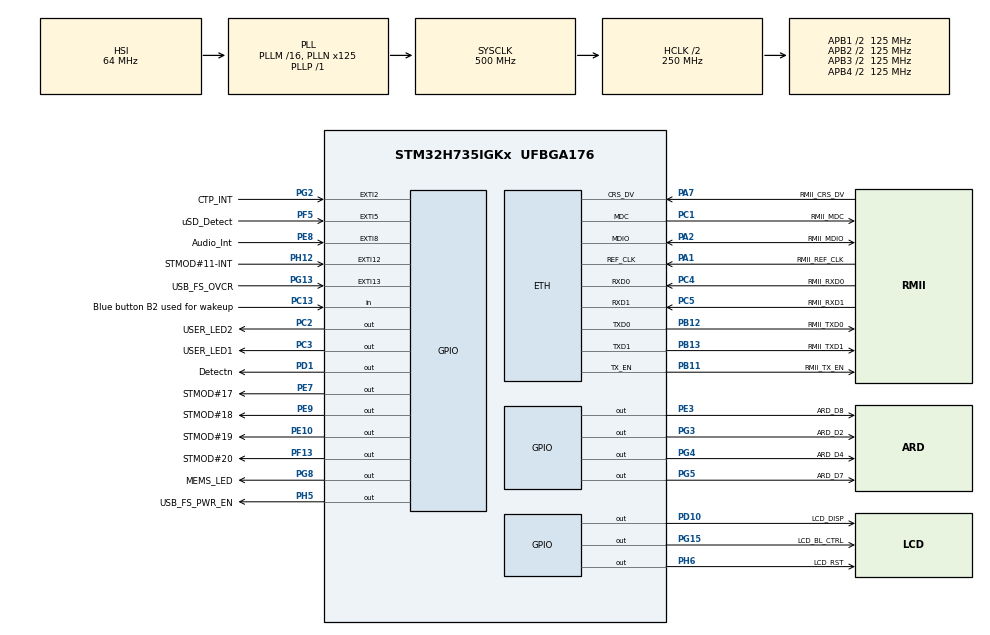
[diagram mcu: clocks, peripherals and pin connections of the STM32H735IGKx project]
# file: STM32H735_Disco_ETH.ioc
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CORTEX_M7.AccessPermission_S-Cortex_Memory_Protection_Unit_Region1_Settings_S=MPU_REGION_FULL_ACCESS
CORTEX_M7.AccessPermission_S-Cortex_Memory_Protection_Unit_Region2_Settings_S=MPU_REGION_FULL_ACCESS
CORTEX_M7.BaseAddress_S-Cortex_Memory_Protection_Unit_Region1_Settings_S=0x30000000
CORTEX_M7.BaseAddress_S-Cortex_Memory_Protection_Unit_Region2_Settings_S=0x30000000
CORTEX_M7.CPU_DCache=Enabled
CORTEX_M7.CPU_ICache=Enabled
CORTEX_M7.DisableExec_S-Cortex_Memory_Protection_Unit_Region1_Settings_S=MPU_INSTRUCTION_ACCESS_DISABLE
CORTEX_M7.DisableExec_S-Cortex_Memory_Protection_Unit_Region2_Settings_S=MPU_INSTRUCTION_ACCESS_DISABLE
CORTEX_M7.Enable_S-Cortex_Memory_Protection_Unit_Region1_Settings_S=MPU_REGION_ENABLE
CORTEX_M7.Enable_S-Cortex_Memory_Protection_Unit_Region2_Settings_S=MPU_REGION_ENABLE
CORTEX_M7.IsBufferable_S-Cortex_Memory_Protection_Unit_Region2_Settings_S=MPU_ACCESS_BUFFERABLE
CORTEX_M7.IsShareable_S-Cortex_Memory_Protection_Unit_Region2_Settings_S=MPU_ACCESS_SHAREABLE
CORTEX_M7.Size_S-Cortex_Memory_Protection_Unit_Region1_Settings_S=MPU_REGION_SIZE_32KB
CORTEX_M7.Size_S-Cortex_Memory_Protection_Unit_Region2_Settings_S=MPU_REGION_SIZE_512B
CORTEX_M7.TypeExtField_S-Cortex_Memory_Protection_Unit_Region1_Settings_S=MPU_TEX_LEVEL1
CORTEX_M7.default_mode_Activation=1
ETH.MediaInterface=HAL_ETH_RMII_MODE
ETH.RxBuffAddress=0x30000200
ETH.RxBuffLen=1536
ETH.TxDescAddress=0x30000100
FREERTOS.Tasks01=defaultTask,24,512,StartDefaultTask,Default,NULL,Dynamic,NULL,NULL
FREERTOS.configCHECK_FOR_STACK_OVERFLOW=1
FREERTOS.configMINIMAL_STACK_SIZE=512
FREERTOS.configTOTAL_HEAP_SIZE=30*1024
FREERTOS.configUSE_NEWLIB_REENTRANT=1
LWIP.BSP.number=1
LWIP.ETH_RX_BUFFER_CNT=12
LWIP.IP_ADDRESS=192.168.001.010
LWIP.LWIP_DHCP=1
LWIP.LWIP_IGMP=1
LWIP.LWIP_MDNS=1
LWIP.LWIP_MDNS_RESPONDER=1
LWIP.LWIP_MULTICAST_TX_OPTIONS=1
LWIP.LWIP_RAM_HEAP_POINTER=0x30000200
LWIP.LWIP_STATS=1
LWIP.LWIP_STATS_DISPLAY=1
LWIP.MDNS_MAX_SERVICES=1
LWIP.MEMP_MEM_MALLOC=0
LWIP.MEMP_NUM_ARP_QUEUE=15
LWIP.MEMP_NUM_TCP_PCB_LISTEN=16
LWIP.MEMP_OVERFLOW_CHECK=2
LWIP.MEMP_SANITY_CHECK=1
LWIP.MEM_LIBC_MALLOC=0
LWIP.MEM_OVERFLOW_CHECK=2
LWIP.MEM_SANITY_CHECK=1
LWIP.MEM_SIZE=32232
LWIP.NETMASK_ADDRESS=255.255.255.000
LWIP.TCPIP_THREAD_STACKSIZE=4096
LWIP.TCP_MSS=1460
LWIP.TCP_SND_BUF=5840
LWIP.TCP_SND_QUEUELEN=16
LWIP.Version=v2.1.2_Cube
LWIP0.BSP.STBoard=false
LWIP0.BSP.api=BSP_COMPONENT_DRIVER
LWIP0.BSP.component=LAN8742
LWIP0.BSP.instance=LAN8742
LWIP0.BSP.name=Driver_PHY
LWIP0.BSP.semaphore=S_LAN8742
LWIP0.BSP.solution=LAN8742
Mcu.Family=STM32H7
Mcu.Name=STM32H735IGKx
Mcu.Package=UFBGA176
NVIC.ETH_IRQn=true\:5\:0\:false\:false\:true\:true\:true\:true\:true
NVIC.PriorityGroup=NVIC_PRIORITYGROUP_4
NVIC.TIM6_DAC_IRQn=true\:15\:0\:false\:false\:true\:false\:false\:true\:true
NVIC.TimeBase=TIM6_DAC_IRQn
NVIC.TimeBaseIP=TIM6
PA0.GPIO_Label=ARD_D3
PA0.Signal=S_TIM5_CH1
PA0_C.GPIO_Label=ARD_A2
PA0_C.Signal=ADCx_INP0
PA1.GPIO_Label=RMII_REF_CLK
PA1.GPIO_Speed=GPIO_SPEED_FREQ_VERY_HIGH
PA1.Mode=RMII
PA1.Signal=ETH_REF_CLK
PA10.GPIO_Label=USB_FS_ID
PA10.Signal=USB_OTG_HS_ID
PA11.GPIO_Label=USB_FS_DM
PA11.Signal=USB_OTG_HS_DM
PA12.GPIO_Label=USB_FS_DP
PA12.Signal=USB_OTG_HS_DP
PA13(JTMS/SWDIO).GPIO_Label=JTMS
PA13(JTMS/SWDIO).Signal=DEBUG_JTMS-SWDIO
PA14(JTCK/SWCLK).GPIO_Label=JTCK
PA14(JTCK/SWCLK).Signal=DEBUG_JTCK-SWCLK
PA15(JTDI).GPIO_Label=JTDI
PA15(JTDI).Signal=DEBUG_JTDI
PA1_C.GPIO_Label=ARD_A3
PA1_C.Signal=ADCx_INP1
PA2.GPIO_Label=RMII_MDIO
PA2.GPIO_Speed=GPIO_SPEED_FREQ_VERY_HIGH
PA2.Mode=RMII
PA2.Signal=ETH_MDIO
PA3.GPIO_Label=LCD_B5
PA3.GPIO_Speed=GPIO_SPEED_FREQ_LOW
PA3.Signal=LTDC_B5
PA4.GPIO_Label=LCD_VSYNC
PA4.GPIO_Speed=GPIO_SPEED_FREQ_LOW
PA4.Signal=LTDC_VSYNC
PA5.GPIO_Label=DAC1_OUT2
PA5.Signal=COMP_DAC12_group
PA6.GPIO_Label=LCD_G2
PA6.GPIO_Speed=GPIO_SPEED_FREQ_LOW
PA6.Signal=LTDC_G2
PA7.GPIO_Label=RMII_CRS_DV
PA7.GPIO_Speed=GPIO_SPEED_FREQ_VERY_HIGH
PA7.Mode=RMII
PA7.Signal=ETH_CRS_DV
PA8.GPIO_Label=LCD_B3
PA8.GPIO_Speed=GPIO_SPEED_FREQ_LOW
PA8.Signal=LTDC_B3
PA9.GPIO_Label=USB_FS_VBUS
PA9.Signal=USB_OTG_HS_VBUS
PB0.GPIO_Label=LCD_G1
PB0.GPIO_Speed=GPIO_SPEED_FREQ_LOW
PB0.Signal=LTDC_G1
PB1.GPIO_Label=LCD_G0
PB1.GPIO_Speed=GPIO_SPEED_FREQ_LOW
PB1.Signal=LTDC_G0
PB10.GPIO_Label=RMII_RX_ER
PB10.Signal=ETH_RX_ER
PB11.GPIO_Label=RMII_TX_EN
PB11.GPIO_Speed=GPIO_SPEED_FREQ_VERY_HIGH
PB11.Mode=RMII
PB11.Signal=ETH_TX_EN
PB12.GPIO_Label=RMII_TXD0
PB12.GPIO_Speed=GPIO_SPEED_FREQ_VERY_HIGH
PB12.Mode=RMII
PB12.Signal=ETH_TXD0
PB13.GPIO_Label=RMII_TXD1
PB13.GPIO_Speed=GPIO_SPEED_FREQ_VERY_HIGH
PB13.Mode=RMII
PB13.Signal=ETH_TXD1
PB14.GPIO_Label=ARD_D1
PB14.GPIO_PuPd=GPIO_NOPULL
PB14.Signal=USART1_TX
PB15.GPIO_Label=ARD_D0
PB15.GPIO_PuPd=GPIO_NOPULL
PB15.Signal=USART1_RX
PB2.GPIO_Label=OCSPI1_DQS
PB2.Signal=OCTOSPIM_P1_DQS
PB3(JTDO/TRACESWO).GPIO_Label=JTDO
PB3(JTDO/TRACESWO).Signal=DEBUG_JTDO-SWO
PB4(NJTRST).GPIO_Label=NJTRST
PB4(NJTRST).Signal=DEBUG_JTRST
PB5.GPIO_Label=FDCAN2_RX
PB5.Signal=FDCAN2_RX
PB6.GPIO_Label=FDCAN2_TX
PB6.Signal=FDCAN2_TX
PB7.GPIO_Label=ARD_D9
PB7.Signal=S_TIM4_CH2
PB8.GPIO_Label=LCD_B6
PB8.GPIO_Speed=GPIO_SPEED_FREQ_LOW
PB8.Signal=LTDC_B6
PB9.GPIO_Label=LCD_B7
PB9.GPIO_Speed=GPIO_SPEED_FREQ_LOW
PB9.Signal=LTDC_B7
PC0.GPIO_Label=ARD_A0
PC0.Signal=ADCx_INP10
PC1.GPIO_Label=RMII_MDC
PC1.GPIO_Speed=GPIO_SPEED_FREQ_VERY_HIGH
PC1.Mode=RMII
PC1.Signal=ETH_MDC
PC10.GPIO_Label=SDIO1_D2
PC10.Signal=SDMMC1_D2
PC11.GPIO_Label=SDIO1_D3
PC11.Signal=SDMMC1_D3
PC12.GPIO_Label=SDIO1_CK
PC12.Signal=SDMMC1_CK
PC13.GPIO_Label=Blue button B2 used for wakeup
PC13.Signal=GPIO_Input
PC2.GPIO_Label=USER_LED2
PC2.Signal=GPIO_Output
PC2_C.GPIO_Label=ARD_A4
PC2_C.Signal=ADC3_INP0
PC3.GPIO_Label=USER_LED1
PC3.Signal=GPIO_Output
PC3_C.GPIO_Label=ARD_A5
PC3_C.Signal=ADC3_INP1
PC4.GPIO_Label=RMII_RXD0
PC4.GPIO_Speed=GPIO_SPEED_FREQ_VERY_HIGH
PC4.Mode=RMII
PC4.Signal=ETH_RXD0
PC5.GPIO_Label=RMII_RXD1
PC5.GPIO_Speed=GPIO_SPEED_FREQ_VERY_HIGH
PC5.Mode=RMII
PC5.Signal=ETH_RXD1
PC6.GPIO_Label=LCD_HSYNC
PC6.GPIO_Speed=GPIO_SPEED_FREQ_LOW
PC6.Signal=LTDC_HSYNC
PC7.GPIO_Label=LCD_G6
PC7.GPIO_Speed=GPIO_SPEED_FREQ_LOW
PC7.Signal=LTDC_G6
PC8.GPIO_Label=SDIO1_D0
PC8.Signal=SDMMC1_D0
PC9.GPIO_Label=SDIO1_D1
PC9.Signal=SDMMC1_D1
PD0.GPIO_Label=LCD_B1
PD0.GPIO_Speed=GPIO_SPEED_FREQ_LOW
PD0.Signal=LTDC_B1
PD1.GPIO_Label=Detectn
PD1.GPIO_PuPd=GPIO_NOPULL
PD1.Signal=GPIO_Output
PD10.GPIO_Label=LCD_DISP
PD10.GPIO_Speed=GPIO_SPEED_FREQ_LOW
PD10.Signal=GPIO_Output
PD11.GPIO_Label=OCSPI1_IO0
PD11.Signal=OCTOSPIM_P1_IO0
PD12.GPIO_Label=OCSPI1_IO1
PD12.Signal=OCTOSPIM_P1_IO1
PD13.GPIO_Label=OCSPI1_IO3
PD13.Signal=OCTOSPIM_P1_IO3
PD14.GPIO_Label=STMOD\#14-PWM
PD14.Signal=S_TIM4_CH3
PD15.GPIO_Label=ARD_D6
PD15.Signal=S_TIM4_CH4
PD2.GPIO_Label=SDIO1_CMD
PD2.Signal=SDMMC1_CMD
PD3.GPIO_Label=LCD_G7
PD3.GPIO_Speed=GPIO_SPEED_FREQ_LOW
PD3.Signal=LTDC_G7
PD4.GPIO_Label=OCSPI1_IO4
PD4.Signal=OCTOSPIM_P1_IO4
PD5.GPIO_Label=OCSPI1_IO5
PD5.Signal=OCTOSPIM_P1_IO5
PD6.GPIO_Label=LCD_B2
PD6.GPIO_Speed=GPIO_SPEED_FREQ_LOW
PD6.Signal=LTDC_B2
PD7.GPIO_Label=OCSPI1_IO7
PD7.Signal=OCTOSPIM_P1_IO7
PD8.GPIO_Label=T_VCP_TX
PD8.GPIO_PuPd=GPIO_NOPULL
PD8.Signal=USART3_TX
PD9.GPIO_Label=T_VCP_RX
PD9.GPIO_PuPd=GPIO_NOPULL
PD9.Signal=USART3_RX
PE0.GPIO_Label=LCD_R0
PE0.GPIO_Speed=GPIO_SPEED_FREQ_LOW
PE0.Signal=LTDC_R0
PE1.GPIO_Label=LCD_R6
PE1.GPIO_Speed=GPIO_SPEED_FREQ_LOW
PE1.Signal=LTDC_R6
PE10.GPIO_Label=STMOD\#19
PE10.Signal=GPIO_Output
PE11.GPIO_Label=LCD_G3
PE11.GPIO_Speed=GPIO_SPEED_FREQ_LOW
PE11.Signal=LTDC_G3
PE12.GPIO_Label=LCD_B4
PE12.GPIO_Speed=GPIO_SPEED_FREQ_LOW
PE12.Signal=LTDC_B4
PE13.GPIO_Label=LCD_DE
PE13.GPIO_Speed=GPIO_SPEED_FREQ_LOW
PE13.Signal=LTDC_DE
PE14.GPIO_Label=ARD_D5
PE14.Signal=S_TIM1_CH4
PE15.GPIO_Label=LCD_R7
PE15.GPIO_Speed=GPIO_SPEED_FREQ_LOW
PE15.Signal=LTDC_R7
PE2.GPIO_Label=OCSPI1_IO2
PE2.Signal=OCTOSPIM_P1_IO2
PE3.GPIO_Label=ARD_D8
PE3.Signal=GPIO_Output
PE4.GPIO_Label=SAI4_D2
PE4.Signal=SAI4_D2
PE5.GPIO_Label=SAI4_CK2
PE5.Signal=SAI4_CK2
PE6.GPIO_Label=SAI1_SD_A
PE6.Signal=SAI1_SD_A
PE7.GPIO_Label=STMOD\#17
PE7.Signal=GPIO_Output
PE8.GPIO_Label=Audio_Int
PE8.Signal=GPXTI8
PE9.GPIO_Label=STMOD\#18
PE9.Signal=GPIO_Output
PF0.GPIO_Label=OCSPI2_IO0
PF0.Signal=OCTOSPIM_P2_IO0
PF1.GPIO_Label=OCSPI2_IO1
PF1.Signal=OCTOSPIM_P2_IO1
PF10.GPIO_Label=OCSPI1_CLK
PF10.Signal=OCTOSPIM_P1_CLK
PF11.GPIO_Label=SPI5_MOSI
PF11.Signal=SPI5_MOSI
PF12.GPIO_Label=OCSPI2_DQS
PF12.Signal=OCTOSPIM_P2_DQS
PF13.GPIO_Label=STMOD\#20
PF13.Signal=GPIO_Output
PF14.GPIO_Label=I2C4_SCL
PF14.Signal=I2C4_SCL
PF15.GPIO_Label=I2C4_SDA
PF15.Signal=I2C4_SDA
PF2.GPIO_Label=OCSPI2_IO2
PF2.Signal=OCTOSPIM_P2_IO2
PF3.GPIO_Label=OCSPI2_IO3
PF3.Signal=OCTOSPIM_P2_IO3
PF4.GPIO_Label=OCSPI2_CLK
PF4.Signal=OCTOSPIM_P2_CLK
PF5.GPIO_Label=uSD_Detect
PF5.Signal=GPXTI5
PF6.GPIO_Label=SAI1_SD_B
PF6.Signal=SAI1_SD_B
PF7.GPIO_Label=SAI1_MCLK_B
PF7.Signal=SAI1_MCLK_B
PF8.GPIO_Label=SAI1_SCK_B
PF8.Signal=SAI1_SCK_B
PF9.GPIO_Label=SAI1_FS_B
PF9.Signal=SAI1_FS_B
PG0.GPIO_Label=OCSPI2_IO4
PG0.Signal=OCTOSPIM_P2_IO4
PG1.GPIO_Label=OCSPI2_IO5
PG1.Signal=OCTOSPIM_P2_IO5
PG10.GPIO_Label=OCSPI2_IO6
PG10.Signal=OCTOSPIM_P2_IO6
PG11.GPIO_Label=OCSPI2_IO7
PG11.Signal=OCTOSPIM_P2_IO7
PG12.GPIO_Label=OCSPI2_NCS
PG12.Signal=OCTOSPIM_P2_NCS
PG13.GPIO_Label=USB_FS_OVCR
PG13.Signal=GPXTI13
PG14.GPIO_Label=LCD_B0
PG14.GPIO_Speed=GPIO_SPEED_FREQ_LOW
PG14.Signal=LTDC_B0
PG15.GPIO_Label=LCD_BL_CTRL
PG15.GPIO_Speed=GPIO_SPEED_FREQ_LOW
PG15.Signal=GPIO_Output
PG2.GPIO_Label=CTP_INT
PG2.Signal=GPXTI2
PG3.GPIO_Label=ARD_D2
PG3.Signal=GPIO_Output
PG4.GPIO_Label=ARD_D4
PG4.Signal=GPIO_Output
PG5.GPIO_Label=ARD_D7
PG5.Signal=GPIO_Output
PG6.GPIO_Label=OCSPI1_NCS
PG6.Signal=OCTOSPIM_P1_NCS
PG7.GPIO_Label=LCD_CLK
PG7.GPIO_Speed=GPIO_SPEED_FREQ_LOW
PG7.Signal=LTDC_CLK
PG8.GPIO_Label=MEMS_LED
PG8.Signal=GPIO_Output
PG9.GPIO_Label=OCSPI1_IO6
PG9.Signal=OCTOSPIM_P1_IO6
PH10.GPIO_Label=LCD_R4
PH10.GPIO_Speed=GPIO_SPEED_FREQ_LOW
PH10.Signal=LTDC_R4
PH11.GPIO_Label=LCD_R5
PH11.GPIO_Speed=GPIO_SPEED_FREQ_LOW
PH11.Signal=LTDC_R5
PH12.GPIO_Label=STMOD\#11-INT
PH12.Signal=GPXTI12
PH13.GPIO_Label=FDCAN1_TX
PH13.Signal=FDCAN1_TX
PH14.GPIO_Label=FDCAN1_RX
PH14.Signal=FDCAN1_RX
PH15.GPIO_Label=LCD_G4
PH15.GPIO_Speed=GPIO_SPEED_FREQ_LOW
PH15.Signal=LTDC_G4
PH2.GPIO_Label=ARD_A1
PH2.Signal=ADC3_INP13
PH3.GPIO_Label=LCD_R1
PH3.GPIO_Speed=GPIO_SPEED_FREQ_LOW
PH3.Signal=LTDC_R1
PH4.GPIO_Label=LCD_G5
PH4.GPIO_Speed=GPIO_SPEED_FREQ_LOW
PH4.Signal=LTDC_G5
PH5.GPIO_Label=USB_FS_PWR_EN
PH5.Signal=GPIO_Output
PH6.GPIO_Label=LCD_RST
PH6.GPIO_Speed=GPIO_SPEED_FREQ_LOW
PH6.Signal=GPIO_Output
PH7.GPIO_Label=SPI5_MISO
PH7.Signal=SPI5_MISO
PH8.GPIO_Label=LCD_R2
PH8.GPIO_Speed=GPIO_SPEED_FREQ_LOW
PH8.Signal=LTDC_R2
PH9.GPIO_Label=LCD_R3
PH9.GPIO_Speed=GPIO_SPEED_FREQ_LOW
PH9.Signal=LTDC_R3
ProjectManager.HeapSize=0x200
ProjectManager.StackSize=0x400
ProjectManager.TargetToolchain=STM32CubeIDE
RCC.ADCFreq_Value=204800000
RCC.APB1Freq_Value=125000000
RCC.APB2Freq_Value=125000000
RCC.APB3Freq_Value=125000000
RCC.APB4Freq_Value=125000000
RCC.CortexFreq_Value=500000000
RCC.D1PPRE=RCC_APB3_DIV2
RCC.D2PPRE1=RCC_APB1_DIV2
RCC.D2PPRE2=RCC_APB2_DIV2
RCC.D3PPRE=RCC_APB4_DIV2
RCC.DIVM1=16
RCC.DIVM2=5
RCC.DIVN1=125
RCC.DIVN2=80
RCC.DIVP1=1
RCC.DIVP2=5
RCC.DIVQ1=4
RCC.HCLKFreq_Value=250000000
RCC.HPRE=RCC_HCLK_DIV2
RCC.PLL2FRACN=0
RCC.PLL3FRACN=0
RCC.PLLFRACN=0
RCC.SYSCLKFreq_VALUE=500000000
RCC.SYSCLKSource=RCC_SYSCLKSOURCE_PLLCLK
RCC.USBCLockSelection=RCC_USBCLKSOURCE_HSI48
RCC.USBFreq_Value=48000000
SH.ADCx_INP0.0=ADC1_INP0
SH.ADCx_INP0.1=ADC2_INP0
SH.ADCx_INP1.0=ADC2_INP1
SH.ADCx_INP1.1=ADC1_INP1
SH.ADCx_INP10.0=ADC1_INP10
SH.COMP_DAC12_group.0=DAC1_OUT2
SH.S_TIM1_CH4.0=TIM1_CH4
SH.S_TIM4_CH2.0=TIM4_CH2
SH.S_TIM4_CH3.0=TIM4_CH3
SH.S_TIM4_CH4.0=TIM4_CH4
SH.S_TIM5_CH1.0=TIM5_CH1
VP_FREERTOS_VS_CMSIS_V2.Mode=CMSIS_V2
VP_LWIP_VS_Enabled.Mode=Enabled
VP_SYS_VS_tim6.Mode=TIM6
board=STM32H735G-DK

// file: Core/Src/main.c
/* USER CODE BEGIN Header */
/**
  ******************************************************************************
  * @file           : main.c
  * @brief          : Main program body
  ******************************************************************************
  * @attention
  *
  * Copyright (c) 2022 STMicroelectronics.
  * All rights reserved.
  *
  * This software is licensed under terms that can be found in the LICENSE file
  * in the root directory of this software component.
  * If no LICENSE file comes with this software, it is provided AS-IS.
  *
  ******************************************************************************
  */
/* USER CODE END Header */
#include "main.h"
#include "cmsis_os.h"
#include "lwip.h"

/* USER CODE BEGIN Includes */
/* ETH_CODE: add lwiperf, see comment in StartDefaultTask function */
#include <string.h>
#include "lwip/apps/lwiperf.h"
#include "lwip/apps/mdns.h"
#include "lwip/stats.h"
#include "lwip/igmp.h"
/* USER CODE END Includes */

/* Definitions for defaultTask */
osThreadId_t defaultTaskHandle;
const osThreadAttr_t defaultTask_attributes = {
  .name = "defaultTask",
  .stack_size = 512 * 4,
  .priority = (osPriority_t) osPriorityNormal,
};
/* USER CODE BEGIN PV */

extern struct netif gnetif;

/* USER CODE END PV */

void SystemClock_Config(void);
static void MPU_Config(void);
static void MX_GPIO_Init(void);
void StartDefaultTask(void *argument);

/* USER CODE BEGIN PFP */

extern void initialise_monitor_handles(void);

/* USER CODE END PFP */

/* USER CODE BEGIN 0 */

static void
srv_txt(struct mdns_service *service, void *txt_userdata)
{
  err_t res;
  LWIP_UNUSED_ARG(txt_userdata);

  res = mdns_resp_add_service_txtitem(service, "path=/", 6);
  LWIP_ERROR("mdns add service txt failed\n", (res == ERR_OK), return);
}

static void
mdns_example_report(struct netif* netif, u8_t result)
{
  LWIP_PLATFORM_DIAG(("mdns status[netif %d]: %d\n", netif->num, result));
}

void mdns_thread(void *argument) {

	// Need to wait for memp_init() to complete...
	// TODO: There should be a better way
	vTaskDelay(1000/ portTICK_PERIOD_MS);

  LOCK_TCPIP_CORE();
  mdns_resp_register_name_result_cb(mdns_example_report);
  mdns_resp_init();
  UNLOCK_TCPIP_CORE();

  while(!dhcp_supplied_address(&gnetif)) {
    vTaskDelay(1000/ portTICK_PERIOD_MS);
  }

  LOCK_TCPIP_CORE();
  ip4_addr_t mdns_group;
  mdns_resp_add_netif(&gnetif, "scion", 1200);

  IP4_ADDR(&mdns_group, 224, 0, 0, 251);
  igmp_joingroup(IP_ADDR_ANY, &mdns_group);

  mdns_resp_add_service(&gnetif, "scion", "_scion", DNSSD_PROTO_UDP, 9000, 60, srv_txt, NULL);
  mdns_resp_announce(&gnetif);
  UNLOCK_TCPIP_CORE();

  while (1) {
    LOCK_TCPIP_CORE();
    mdns_resp_announce(&gnetif);
    UNLOCK_TCPIP_CORE();

    vTaskDelay(5000/ portTICK_PERIOD_MS);
  }
}

/* USER CODE END 0 */

int main(void)
{

  /* MPU Configuration--------------------------------------------------------*/
  MPU_Config();

  /* Enable the CPU Cache */

  /* Enable I-Cache---------------------------------------------------------*/
  SCB_EnableICache();

  /* Enable D-Cache---------------------------------------------------------*/
  //SCB_EnableDCache();

  /* MCU Configuration--------------------------------------------------------*/

  /* Reset of all peripherals, Initializes the Flash interface and the Systick. */
  HAL_Init();

  /* Configure the system clock */
  SystemClock_Config();

  /* Initialize all configured peripherals */
  MX_GPIO_Init();
  /* USER CODE BEGIN 2 */

  initialise_monitor_handles();

  printf("Testing!\n");
  /* USER CODE END 2 */

  /* Init scheduler */
  osKernelInitialize();

  /* Create the thread(s) */
  /* creation of defaultTask */
  defaultTaskHandle = osThreadNew(StartDefaultTask, NULL, &defaultTask_attributes);

  /* USER CODE BEGIN RTOS_THREADS */
  /* add threads, ... */

  osThreadAttr_t attributes;

  memset(&attributes, 0x0, sizeof(osThreadAttr_t));
  attributes.name = "MDNS";
  attributes.stack_size = 512;
  attributes.priority = osPriorityNormal;
  osThreadNew(mdns_thread, &gnetif, &attributes);

  /* USER CODE END RTOS_THREADS */

  /* Start scheduler */
  osKernelStart();

  /* We should never get here as control is now taken by the scheduler */

  /* Infinite loop */
  while (1)
  {

  }
}

void SystemClock_Config(void)
{
  RCC_OscInitTypeDef RCC_OscInitStruct = {0};
  RCC_ClkInitTypeDef RCC_ClkInitStruct = {0};

  /** Supply configuration update enable
  */
  HAL_PWREx_ConfigSupply(PWR_DIRECT_SMPS_SUPPLY);

  /** Configure the main internal regulator output voltage
  */
  __HAL_PWR_VOLTAGESCALING_CONFIG(PWR_REGULATOR_VOLTAGE_SCALE0);

  while(!__HAL_PWR_GET_FLAG(PWR_FLAG_VOSRDY)) {}

  /** Initializes the RCC Oscillators according to the specified parameters
  * in the RCC_OscInitTypeDef structure.
  */
  RCC_OscInitStruct.OscillatorType = RCC_OSCILLATORTYPE_HSI;
  RCC_OscInitStruct.HSIState = RCC_HSI_DIV1;
  RCC_OscInitStruct.HSICalibrationValue = 64;
  RCC_OscInitStruct.PLL.PLLState = RCC_PLL_ON;
  RCC_OscInitStruct.PLL.PLLSource = RCC_PLLSOURCE_HSI;
  RCC_OscInitStruct.PLL.PLLM = 16;
  RCC_OscInitStruct.PLL.PLLN = 125;
  RCC_OscInitStruct.PLL.PLLP = 1;
  RCC_OscInitStruct.PLL.PLLQ = 4;
  RCC_OscInitStruct.PLL.PLLR = 2;
  RCC_OscInitStruct.PLL.PLLRGE = RCC_PLL1VCIRANGE_2;
  RCC_OscInitStruct.PLL.PLLVCOSEL = RCC_PLL1VCOWIDE;
  RCC_OscInitStruct.PLL.PLLFRACN = 0;
  if (HAL_RCC_OscConfig(&RCC_OscInitStruct) != HAL_OK)
  {
    Error_Handler();
  }

  /** Initializes the CPU, AHB and APB buses clocks
  */
  RCC_ClkInitStruct.ClockType = RCC_CLOCKTYPE_HCLK|RCC_CLOCKTYPE_SYSCLK
                              |RCC_CLOCKTYPE_PCLK1|RCC_CLOCKTYPE_PCLK2
                              |RCC_CLOCKTYPE_D3PCLK1|RCC_CLOCKTYPE_D1PCLK1;
  RCC_ClkInitStruct.SYSCLKSource = RCC_SYSCLKSOURCE_PLLCLK;
  RCC_ClkInitStruct.SYSCLKDivider = RCC_SYSCLK_DIV1;
  RCC_ClkInitStruct.AHBCLKDivider = RCC_HCLK_DIV2;
  RCC_ClkInitStruct.APB3CLKDivider = RCC_APB3_DIV2;
  RCC_ClkInitStruct.APB1CLKDivider = RCC_APB1_DIV2;
  RCC_ClkInitStruct.APB2CLKDivider = RCC_APB2_DIV2;
  RCC_ClkInitStruct.APB4CLKDivider = RCC_APB4_DIV2;

  if (HAL_RCC_ClockConfig(&RCC_ClkInitStruct, FLASH_LATENCY_3) != HAL_OK)
  {
    Error_Handler();
  }
}

static void MX_GPIO_Init(void)
{
  GPIO_InitTypeDef GPIO_InitStruct = {0};

  /* GPIO Ports Clock Enable */
  __HAL_RCC_GPIOB_CLK_ENABLE();
  __HAL_RCC_GPIOG_CLK_ENABLE();
  __HAL_RCC_GPIOD_CLK_ENABLE();
  __HAL_RCC_GPIOA_CLK_ENABLE();
  __HAL_RCC_GPIOE_CLK_ENABLE();
  __HAL_RCC_GPIOC_CLK_ENABLE();
  __HAL_RCC_GPIOH_CLK_ENABLE();
  __HAL_RCC_GPIOF_CLK_ENABLE();

  /*Configure GPIO pin Output Level */
  HAL_GPIO_WritePin(GPIOD, Detectn_Pin|LCD_DISP_Pin, GPIO_PIN_RESET);

  /*Configure GPIO pin Output Level */
  HAL_GPIO_WritePin(GPIOE, ARD_D8_Pin|STMOD_17_Pin|STMOD_19_Pin|STMOD_18_Pin, GPIO_PIN_RESET);

  /*Configure GPIO pin Output Level */
  HAL_GPIO_WritePin(GPIOG, LCD_BL_CTRL_Pin|ARD_D7_Pin|MEMS_LED_Pin|ARD_D4_Pin
                          |ARD_D2_Pin, GPIO_PIN_RESET);

  /*Configure GPIO pin Output Level */
  HAL_GPIO_WritePin(GPIOC, USER_LED2_Pin|USER_LED1_Pin, GPIO_PIN_RESET);

  /*Configure GPIO pin Output Level */
  HAL_GPIO_WritePin(STMOD_20_GPIO_Port, STMOD_20_Pin, GPIO_PIN_RESET);

  /*Configure GPIO pin Output Level */
  HAL_GPIO_WritePin(GPIOH, LCD_RST_Pin|USB_FS_PWR_EN_Pin, GPIO_PIN_RESET);

  /*Configure GPIO pins : LCD_B6_Pin LCD_B7_Pin LCD_G0_Pin LCD_G1_Pin */
  GPIO_InitStruct.Pin = LCD_B6_Pin|LCD_B7_Pin|LCD_G0_Pin|LCD_G1_Pin;
  GPIO_InitStruct.Mode = GPIO_MODE_AF_PP;
  GPIO_InitStruct.Pull = GPIO_NOPULL;
  GPIO_InitStruct.Speed = GPIO_SPEED_FREQ_LOW;
  GPIO_InitStruct.Alternate = GPIO_AF14_LTDC;
  HAL_GPIO_Init(GPIOB, &GPIO_InitStruct);

  /*Configure GPIO pins : FDCAN2_TX_Pin FDCAN2_RX_Pin */
  GPIO_InitStruct.Pin = FDCAN2_TX_Pin|FDCAN2_RX_Pin;
  GPIO_InitStruct.Mode = GPIO_MODE_AF_PP;
  GPIO_InitStruct.Pull = GPIO_NOPULL;
  GPIO_InitStruct.Speed = GPIO_SPEED_FREQ_LOW;
  GPIO_InitStruct.Alternate = GPIO_AF9_FDCAN2;
  HAL_GPIO_Init(GPIOB, &GPIO_InitStruct);

  /*Configure GPIO pins : OCSPI2_IO7_Pin OCSPI2_IO5_Pin OCSPI2_IO4_Pin */
  GPIO_InitStruct.Pin = OCSPI2_IO7_Pin|OCSPI2_IO5_Pin|OCSPI2_IO4_Pin;
  GPIO_InitStruct.Mode = GPIO_MODE_AF_PP;
  GPIO_InitStruct.Pull = GPIO_NOPULL;
  GPIO_InitStruct.Speed = GPIO_SPEED_FREQ_VERY_HIGH;
  GPIO_InitStruct.Alternate = GPIO_AF9_OCTOSPIM_P2;
  HAL_GPIO_Init(GPIOG, &GPIO_InitStruct);

  /*Configure GPIO pin : OCSPI1_IO6_Pin */
  GPIO_InitStruct.Pin = OCSPI1_IO6_Pin;
  GPIO_InitStruct.Mode = GPIO_MODE_AF_PP;
  GPIO_InitStruct.Pull = GPIO_NOPULL;
  GPIO_InitStruct.Speed = GPIO_SPEED_FREQ_VERY_HIGH;
  GPIO_InitStruct.Alternate = GPIO_AF9_OCTOSPIM_P1;
  HAL_GPIO_Init(OCSPI1_IO6_GPIO_Port, &GPIO_InitStruct);

  /*Configure GPIO pins : LCD_G7_Pin LCD_B1_Pin LCD_B2_Pin */
  GPIO_InitStruct.Pin = LCD_G7_Pin|LCD_B1_Pin|LCD_B2_Pin;
  GPIO_InitStruct.Mode = GPIO_MODE_AF_PP;
  GPIO_InitStruct.Pull = GPIO_NOPULL;
  GPIO_InitStruct.Speed = GPIO_SPEED_FREQ_LOW;
  GPIO_InitStruct.Alternate = GPIO_AF14_LTDC;
  HAL_GPIO_Init(GPIOD, &GPIO_InitStruct);

  /*Configure GPIO pins : Detectn_Pin LCD_DISP_Pin */
  GPIO_InitStruct.Pin = Detectn_Pin|LCD_DISP_Pin;
  GPIO_InitStruct.Mode = GPIO_MODE_OUTPUT_PP;
  GPIO_InitStruct.Pull = GPIO_NOPULL;
  GPIO_InitStruct.Speed = GPIO_SPEED_FREQ_LOW;
  HAL_GPIO_Init(GPIOD, &GPIO_InitStruct);

  /*Configure GPIO pins : SAI4_D2_Pin SAI4_CK2_Pin */
  GPIO_InitStruct.Pin = SAI4_D2_Pin|SAI4_CK2_Pin;
  GPIO_InitStruct.Mode = GPIO_MODE_AF_PP;
  GPIO_InitStruct.Pull = GPIO_NOPULL;
  GPIO_InitStruct.Speed = GPIO_SPEED_FREQ_LOW;
  GPIO_InitStruct.Alternate = GPIO_AF10_SAI4;
  HAL_GPIO_Init(GPIOE, &GPIO_InitStruct);

  /*Configure GPIO pins : ARD_D8_Pin STMOD_17_Pin STMOD_19_Pin STMOD_18_Pin */
  GPIO_InitStruct.Pin = ARD_D8_Pin|STMOD_17_Pin|STMOD_19_Pin|STMOD_18_Pin;
  GPIO_InitStruct.Mode = GPIO_MODE_OUTPUT_PP;
  GPIO_InitStruct.Pull = GPIO_NOPULL;
  GPIO_InitStruct.Speed = GPIO_SPEED_FREQ_LOW;
  HAL_GPIO_Init(GPIOE, &GPIO_InitStruct);

  /*Configure GPIO pins : LCD_R0_Pin LCD_R6_Pin LCD_B4_Pin LCD_DE_Pin
                           LCD_R7_Pin LCD_G3_Pin */
  GPIO_InitStruct.Pin = LCD_R0_Pin|LCD_R6_Pin|LCD_B4_Pin|LCD_DE_Pin
                          |LCD_R7_Pin|LCD_G3_Pin;
  GPIO_InitStruct.Mode = GPIO_MODE_AF_PP;
  GPIO_InitStruct.Pull = GPIO_NOPULL;
  GPIO_InitStruct.Speed = GPIO_SPEED_FREQ_LOW;
  GPIO_InitStruct.Alternate = GPIO_AF14_LTDC;
  HAL_GPIO_Init(GPIOE, &GPIO_InitStruct);

  /*Configure GPIO pin : ARD_D9_Pin */
  GPIO_InitStruct.Pin = ARD_D9_Pin;
  GPIO_InitStruct.Mode = GPIO_MODE_AF_PP;
  GPIO_InitStruct.Pull = GPIO_NOPULL;
  GPIO_InitStruct.Speed = GPIO_SPEED_FREQ_LOW;
  GPIO_InitStruct.Alternate = GPIO_AF2_TIM4;
  HAL_GPIO_Init(ARD_D9_GPIO_Port, &GPIO_InitStruct);

  /*Configure GPIO pins : USB_FS_OVCR_Pin CTP_INT_Pin */
  GPIO_InitStruct.Pin = USB_FS_OVCR_Pin|CTP_INT_Pin;
  GPIO_InitStruct.Mode = GPIO_MODE_IT_RISING;
  GPIO_InitStruct.Pull = GPIO_NOPULL;
  HAL_GPIO_Init(GPIOG, &GPIO_InitStruct);

  /*Configure GPIO pins : OCSPI1_IO7_Pin OCSPI1_IO5_Pin OCSPI1_IO4_Pin */
  GPIO_InitStruct.Pin = OCSPI1_IO7_Pin|OCSPI1_IO5_Pin|OCSPI1_IO4_Pin;
  GPIO_InitStruct.Mode = GPIO_MODE_AF_PP;
  GPIO_InitStruct.Pull = GPIO_NOPULL;
  GPIO_InitStruct.Speed = GPIO_SPEED_FREQ_VERY_HIGH;
  GPIO_InitStruct.Alternate = GPIO_AF10_OCTOSPIM_P1;
  HAL_GPIO_Init(GPIOD, &GPIO_InitStruct);

  /*Configure GPIO pin : SDIO1_CMD_Pin */
  GPIO_InitStruct.Pin = SDIO1_CMD_Pin;
  GPIO_InitStruct.Mode = GPIO_MODE_AF_PP;
  GPIO_InitStruct.Pull = GPIO_NOPULL;
  GPIO_InitStruct.Speed = GPIO_SPEED_FREQ_VERY_HIGH;
  GPIO_InitStruct.Alternate = GPIO_AF12_SDMMC1;
  HAL_GPIO_Init(SDIO1_CMD_GPIO_Port, &GPIO_InitStruct);

  /*Configure GPIO pins : SDIO1_CK_Pin SDIO1_D3_Pin SDIO1_D2_Pin SDIO1_D0_Pin
                           SDIO1_D1_Pin */
  GPIO_InitStruct.Pin = SDIO1_CK_Pin|SDIO1_D3_Pin|SDIO1_D2_Pin|SDIO1_D0_Pin
                          |SDIO1_D1_Pin;
  GPIO_InitStruct.Mode = GPIO_MODE_AF_PP;
  GPIO_InitStruct.Pull = GPIO_NOPULL;
  GPIO_InitStruct.Speed = GPIO_SPEED_FREQ_VERY_HIGH;
  GPIO_InitStruct.Alternate = GPIO_AF12_SDMMC1;
  HAL_GPIO_Init(GPIOC, &GPIO_InitStruct);

  /*Configure GPIO pins : FDCAN1_RX_Pin FDCAN1_TX_Pin */
  GPIO_InitStruct.Pin = FDCAN1_RX_Pin|FDCAN1_TX_Pin;
  GPIO_InitStruct.Mode = GPIO_MODE_AF_PP;
  GPIO_InitStruct.Pull = GPIO_NOPULL;
  GPIO_InitStruct.Speed = GPIO_SPEED_FREQ_LOW;
  GPIO_InitStruct.Alternate = GPIO_AF9_FDCAN1;
  HAL_GPIO_Init(GPIOH, &GPIO_InitStruct);

  /*Configure GPIO pin : LCD_B3_Pin */
  GPIO_InitStruct.Pin = LCD_B3_Pin;
  GPIO_InitStruct.Mode = GPIO_MODE_AF_PP;
  GPIO_InitStruct.Pull = GPIO_NOPULL;
  GPIO_InitStruct.Speed = GPIO_SPEED_FREQ_LOW;
  GPIO_InitStruct.Alternate = GPIO_AF13_LTDC;
  HAL_GPIO_Init(LCD_B3_GPIO_Port, &GPIO_InitStruct);

  /*Configure GPIO pins : USB_FS_DP_Pin USB_FS_DM_Pin */
  GPIO_InitStruct.Pin = USB_FS_DP_Pin|USB_FS_DM_Pin;
  GPIO_InitStruct.Mode = GPIO_MODE_AF_PP;
  GPIO_InitStruct.Pull = GPIO_NOPULL;
  GPIO_InitStruct.Speed = GPIO_SPEED_FREQ_LOW;
  HAL_GPIO_Init(GPIOA, &GPIO_InitStruct);

  /*Configure GPIO pin : Blue_button_B2_used_for_wakeup_Pin */
  GPIO_InitStruct.Pin = Blue_button_B2_used_for_wakeup_Pin;
  GPIO_InitStruct.Mode = GPIO_MODE_INPUT;
  GPIO_InitStruct.Pull = GPIO_NOPULL;
  HAL_GPIO_Init(Blue_button_B2_used_for_wakeup_GPIO_Port, &GPIO_InitStruct);

  /*Configure GPIO pin : OCSPI1_IO2_Pin */
  GPIO_InitStruct.Pin = OCSPI1_IO2_Pin;
  GPIO_InitStruct.Mode = GPIO_MODE_AF_PP;
  GPIO_InitStruct.Pull = GPIO_NOPULL;
  GPIO_InitStruct.Speed = GPIO_SPEED_FREQ_VERY_HIGH;
  GPIO_InitStruct.Alternate = GPIO_AF9_OCTOSPIM_P1;
  HAL_GPIO_Init(OCSPI1_IO2_GPIO_Port, &GPIO_InitStruct);

  /*Configure GPIO pins : LCD_B0_Pin LCD_CLK_Pin */
  GPIO_InitStruct.Pin = LCD_B0_Pin|LCD_CLK_Pin;
  GPIO_InitStruct.Mode = GPIO_MODE_AF_PP;
  GPIO_InitStruct.Pull = GPIO_NOPULL;
  GPIO_InitStruct.Speed = GPIO_SPEED_FREQ_LOW;
  GPIO_InitStruct.Alternate = GPIO_AF14_LTDC;
  HAL_GPIO_Init(GPIOG, &GPIO_InitStruct);

  /*Configure GPIO pins : OCSPI2_IO6_Pin OCSPI2_NCS_Pin */
  GPIO_InitStruct.Pin = OCSPI2_IO6_Pin|OCSPI2_NCS_Pin;
  GPIO_InitStruct.Mode = GPIO_MODE_AF_PP;
  GPIO_InitStruct.Pull = GPIO_NOPULL;
  GPIO_InitStruct.Speed = GPIO_SPEED_FREQ_VERY_HIGH;
  GPIO_InitStruct.Alternate = GPIO_AF3_OCTOSPIM_P2;
  HAL_GPIO_Init(GPIOG, &GPIO_InitStruct);

  /*Configure GPIO pin : USB_FS_ID_Pin */
  GPIO_InitStruct.Pin = USB_FS_ID_Pin;
  GPIO_InitStruct.Mode = GPIO_MODE_AF_PP;
  GPIO_InitStruct.Pull = GPIO_NOPULL;
  GPIO_InitStruct.Speed = GPIO_SPEED_FREQ_LOW;
  GPIO_InitStruct.Alternate = GPIO_AF10_OTG1_HS;
  HAL_GPIO_Init(USB_FS_ID_GPIO_Port, &GPIO_InitStruct);

  /*Configure GPIO pins : LCD_BL_CTRL_Pin ARD_D7_Pin MEMS_LED_Pin ARD_D4_Pin
                           ARD_D2_Pin */
  GPIO_InitStruct.Pin = LCD_BL_CTRL_Pin|ARD_D7_Pin|MEMS_LED_Pin|ARD_D4_Pin
                          |ARD_D2_Pin;
  GPIO_InitStruct.Mode = GPIO_MODE_OUTPUT_PP;
  GPIO_InitStruct.Pull = GPIO_NOPULL;
  GPIO_InitStruct.Speed = GPIO_SPEED_FREQ_LOW;
  HAL_GPIO_Init(GPIOG, &GPIO_InitStruct);

  /*Configure GPIO pins : LCD_G4_Pin LCD_R5_Pin LCD_R3_Pin LCD_R2_Pin
                           LCD_R4_Pin LCD_R1_Pin */
  GPIO_InitStruct.Pin = LCD_G4_Pin|LCD_R5_Pin|LCD_R3_Pin|LCD_R2_Pin
                          |LCD_R4_Pin|LCD_R1_Pin;
  GPIO_InitStruct.Mode = GPIO_MODE_AF_PP;
  GPIO_InitStruct.Pull = GPIO_NOPULL;
  GPIO_InitStruct.Speed = GPIO_SPEED_FREQ_LOW;
  GPIO_InitStruct.Alternate = GPIO_AF14_LTDC;
  HAL_GPIO_Init(GPIOH, &GPIO_InitStruct);

  /*Configure GPIO pins : LCD_G6_Pin LCD_HSYNC_Pin */
  GPIO_InitStruct.Pin = LCD_G6_Pin|LCD_HSYNC_Pin;
  GPIO_InitStruct.Mode = GPIO_MODE_AF_PP;
  GPIO_InitStruct.Pull = GPIO_NOPULL;
  GPIO_InitStruct.Speed = GPIO_SPEED_FREQ_LOW;
  GPIO_InitStruct.Alternate = GPIO_AF14_LTDC;
  HAL_GPIO_Init(GPIOC, &GPIO_InitStruct);

  /*Configure GPIO pin : SAI1_SD_A_Pin */
  GPIO_InitStruct.Pin = SAI1_SD_A_Pin;
  GPIO_InitStruct.Mode = GPIO_MODE_AF_PP;
  GPIO_InitStruct.Pull = GPIO_NOPULL;
  GPIO_InitStruct.Speed = GPIO_SPEED_FREQ_LOW;
  GPIO_InitStruct.Alternate = GPIO_AF6_SAI1;
  HAL_GPIO_Init(SAI1_SD_A_GPIO_Port, &GPIO_InitStruct);

  /*Configure GPIO pins : OCSPI2_IO1_Pin OCSPI2_IO0_Pin OCSPI2_IO2_Pin OCSPI2_CLK_Pin
                           OCSPI2_IO3_Pin OCSPI2_DQS_Pin */
  GPIO_InitStruct.Pin = OCSPI2_IO1_Pin|OCSPI2_IO0_Pin|OCSPI2_IO2_Pin|OCSPI2_CLK_Pin
                          |OCSPI2_IO3_Pin|OCSPI2_DQS_Pin;
  GPIO_InitStruct.Mode = GPIO_MODE_AF_PP;
  GPIO_InitStruct.Pull = GPIO_NOPULL;
  GPIO_InitStruct.Speed = GPIO_SPEED_FREQ_VERY_HIGH;
  GPIO_InitStruct.Alternate = GPIO_AF9_OCTOSPIM_P2;
  HAL_GPIO_Init(GPIOF, &GPIO_InitStruct);

  /*Configure GPIO pin : OCSPI1_NCS_Pin */
  GPIO_InitStruct.Pin = OCSPI1_NCS_Pin;
  GPIO_InitStruct.Mode = GPIO_MODE_AF_PP;
  GPIO_InitStruct.Pull = GPIO_NOPULL;
  GPIO_InitStruct.Speed = GPIO_SPEED_FREQ_VERY_HIGH;
  GPIO_InitStruct.Alternate = GPIO_AF10_OCTOSPIM_P1;
  HAL_GPIO_Init(OCSPI1_NCS_GPIO_Port, &GPIO_InitStruct);

  /*Configure GPIO pins : SAI1_SD_B_Pin SAI1_SCK_B_Pin SAI1_MCLK_B_Pin SAI1_FS_B_Pin */
  GPIO_InitStruct.Pin = SAI1_SD_B_Pin|SAI1_SCK_B_Pin|SAI1_MCLK_B_Pin|SAI1_FS_B_Pin;
  GPIO_InitStruct.Mode = GPIO_MODE_AF_PP;
  GPIO_InitStruct.Pull = GPIO_NOPULL;
  GPIO_InitStruct.Speed = GPIO_SPEED_FREQ_LOW;
  GPIO_InitStruct.Alternate = GPIO_AF6_SAI1;
  HAL_GPIO_Init(GPIOF, &GPIO_InitStruct);

  /*Configure GPIO pin : uSD_Detect_Pin */
  GPIO_InitStruct.Pin = uSD_Detect_Pin;
  GPIO_InitStruct.Mode = GPIO_MODE_IT_RISING;
  GPIO_InitStruct.Pull = GPIO_NOPULL;
  HAL_GPIO_Init(uSD_Detect_GPIO_Port, &GPIO_InitStruct);

  /*Configure GPIO pins : STMOD_14_PWM_Pin ARD_D6_Pin */
  GPIO_InitStruct.Pin = STMOD_14_PWM_Pin|ARD_D6_Pin;
  GPIO_InitStruct.Mode = GPIO_MODE_AF_PP;
  GPIO_InitStruct.Pull = GPIO_NOPULL;
  GPIO_InitStruct.Speed = GPIO_SPEED_FREQ_LOW;
  GPIO_InitStruct.Alternate = GPIO_AF2_TIM4;
  HAL_GPIO_Init(GPIOD, &GPIO_InitStruct);

  /*Configure GPIO pins : OCSPI1_IO3_Pin OCSPI1_IO0_Pin OCSPI1_IO1_Pin */
  GPIO_InitStruct.Pin = OCSPI1_IO3_Pin|OCSPI1_IO0_Pin|OCSPI1_IO1_Pin;
  GPIO_InitStruct.Mode = GPIO_MODE_AF_PP;
  GPIO_InitStruct.Pull = GPIO_NOPULL;
  GPIO_InitStruct.Speed = GPIO_SPEED_FREQ_VERY_HIGH;
  GPIO_InitStruct.Alternate = GPIO_AF9_OCTOSPIM_P1;
  HAL_GPIO_Init(GPIOD, &GPIO_InitStruct);

  /*Configure GPIO pin : OCSPI1_CLK_Pin */
  GPIO_InitStruct.Pin = OCSPI1_CLK_Pin;
  GPIO_InitStruct.Mode = GPIO_MODE_AF_PP;
  GPIO_InitStruct.Pull = GPIO_NOPULL;
  GPIO_InitStruct.Speed = GPIO_SPEED_FREQ_VERY_HIGH;
  GPIO_InitStruct.Alternate = GPIO_AF9_OCTOSPIM_P1;
  HAL_GPIO_Init(OCSPI1_CLK_GPIO_Port, &GPIO_InitStruct);

  /*Configure GPIO pins : T_VCP_RX_Pin T_VCP_TX_Pin */
  GPIO_InitStruct.Pin = T_VCP_RX_Pin|T_VCP_TX_Pin;
  GPIO_InitStruct.Mode = GPIO_MODE_AF_PP;
  GPIO_InitStruct.Pull = GPIO_NOPULL;
  GPIO_InitStruct.Speed = GPIO_SPEED_FREQ_LOW;
  GPIO_InitStruct.Alternate = GPIO_AF7_USART3;
  HAL_GPIO_Init(GPIOD, &GPIO_InitStruct);

  /*Configure GPIO pins : ARD_D0_Pin ARD_D1_Pin */
  GPIO_InitStruct.Pin = ARD_D0_Pin|ARD_D1_Pin;
  GPIO_InitStruct.Mode = GPIO_MODE_AF_PP;
  GPIO_InitStruct.Pull = GPIO_NOPULL;
  GPIO_InitStruct.Speed = GPIO_SPEED_FREQ_LOW;
  GPIO_InitStruct.Alternate = GPIO_AF4_USART1;
  HAL_GPIO_Init(GPIOB, &GPIO_InitStruct);

  /*Configure GPIO pin : ARD_A0_Pin */
  GPIO_InitStruct.Pin = ARD_A0_Pin;
  GPIO_InitStruct.Mode = GPIO_MODE_ANALOG;
  GPIO_InitStruct.Pull = GPIO_NOPULL;
  HAL_GPIO_Init(ARD_A0_GPIO_Port, &GPIO_InitStruct);

  /*Configure GPIO pins : USER_LED2_Pin USER_LED1_Pin */
  GPIO_InitStruct.Pin = USER_LED2_Pin|USER_LED1_Pin;
  GPIO_InitStruct.Mode = GPIO_MODE_OUTPUT_PP;
  GPIO_InitStruct.Pull = GPIO_NOPULL;
  GPIO_InitStruct.Speed = GPIO_SPEED_FREQ_LOW;
  HAL_GPIO_Init(GPIOC, &GPIO_InitStruct);

  /*Configure GPIO pin : SPI5_MISO_Pin */
  GPIO_InitStruct.Pin = SPI5_MISO_Pin;
  GPIO_InitStruct.Mode = GPIO_MODE_AF_PP;
  GPIO_InitStruct.Pull = GPIO_NOPULL;
  GPIO_InitStruct.Speed = GPIO_SPEED_FREQ_LOW;
  GPIO_InitStruct.Alternate = GPIO_AF5_SPI5;
  HAL_GPIO_Init(SPI5_MISO_GPIO_Port, &GPIO_InitStruct);

  /*Configure GPIO pin : ARD_D5_Pin */
  GPIO_InitStruct.Pin = ARD_D5_Pin;
  GPIO_InitStruct.Mode = GPIO_MODE_AF_PP;
  GPIO_InitStruct.Pull = GPIO_NOPULL;
  GPIO_InitStruct.Speed = GPIO_SPEED_FREQ_LOW;
  GPIO_InitStruct.Alternate = GPIO_AF1_TIM1;
  HAL_GPIO_Init(ARD_D5_GPIO_Port, &GPIO_InitStruct);

  /*Configure GPIO pin : ARD_A1_Pin */
  GPIO_InitStruct.Pin = ARD_A1_Pin;
  GPIO_InitStruct.Mode = GPIO_MODE_ANALOG;
  GPIO_InitStruct.Pull = GPIO_NOPULL;
  HAL_GPIO_Init(ARD_A1_GPIO_Port, &GPIO_InitStruct);

  /*Configure GPIO pins : LCD_B5_Pin LCD_VSYNC_Pin LCD_G2_Pin */
  GPIO_InitStruct.Pin = LCD_B5_Pin|LCD_VSYNC_Pin|LCD_G2_Pin;
  GPIO_InitStruct.Mode = GPIO_MODE_AF_PP;
  GPIO_InitStruct.Pull = GPIO_NOPULL;
  GPIO_InitStruct.Speed = GPIO_SPEED_FREQ_LOW;
  GPIO_InitStruct.Alternate = GPIO_AF14_LTDC;
  HAL_GPIO_Init(GPIOA, &GPIO_InitStruct);

  /*Configure GPIO pin : SPI5_MOSI_Pin */
  GPIO_InitStruct.Pin = SPI5_MOSI_Pin;
  GPIO_InitStruct.Mode = GPIO_MODE_AF_PP;
  GPIO_InitStruct.Pull = GPIO_NOPULL;
  GPIO_InitStruct.Speed = GPIO_SPEED_FREQ_LOW;
  GPIO_InitStruct.Alternate = GPIO_AF5_SPI5;
  HAL_GPIO_Init(SPI5_MOSI_GPIO_Port, &GPIO_InitStruct);

  /*Configure GPIO pin : Audio_Int_Pin */
  GPIO_InitStruct.Pin = Audio_Int_Pin;
  GPIO_InitStruct.Mode = GPIO_MODE_IT_RISING;
  GPIO_InitStruct.Pull = GPIO_NOPULL;
  HAL_GPIO_Init(Audio_Int_GPIO_Port, &GPIO_InitStruct);

  /*Configure GPIO pins : I2C4_SDA_Pin I2C4_SCL_Pin */
  GPIO_InitStruct.Pin = I2C4_SDA_Pin|I2C4_SCL_Pin;
  GPIO_InitStruct.Mode = GPIO_MODE_AF_OD;
  GPIO_InitStruct.Pull = GPIO_NOPULL;
  GPIO_InitStruct.Speed = GPIO_SPEED_FREQ_LOW;
  GPIO_InitStruct.Alternate = GPIO_AF4_I2C4;
  HAL_GPIO_Init(GPIOF, &GPIO_InitStruct);

  /*Configure GPIO pin : STMOD_20_Pin */
  GPIO_InitStruct.Pin = STMOD_20_Pin;
  GPIO_InitStruct.Mode = GPIO_MODE_OUTPUT_PP;
  GPIO_InitStruct.Pull = GPIO_NOPULL;
  GPIO_InitStruct.Speed = GPIO_SPEED_FREQ_LOW;
  HAL_GPIO_Init(STMOD_20_GPIO_Port, &GPIO_InitStruct);

  /*Configure GPIO pin : STMOD_11_INT_Pin */
  GPIO_InitStruct.Pin = STMOD_11_INT_Pin;
  GPIO_InitStruct.Mode = GPIO_MODE_IT_RISING;
  GPIO_InitStruct.Pull = GPIO_NOPULL;
  HAL_GPIO_Init(STMOD_11_INT_GPIO_Port, &GPIO_InitStruct);

  /*Configure GPIO pin : ARD_D3_Pin */
  GPIO_InitStruct.Pin = ARD_D3_Pin;
  GPIO_InitStruct.Mode = GPIO_MODE_AF_PP;
  GPIO_InitStruct.Pull = GPIO_NOPULL;
  GPIO_InitStruct.Speed = GPIO_SPEED_FREQ_LOW;
  GPIO_InitStruct.Alternate = GPIO_AF2_TIM5;
  HAL_GPIO_Init(ARD_D3_GPIO_Port, &GPIO_InitStruct);

  /*Configure GPIO pin : LCD_G5_Pin */
  GPIO_InitStruct.Pin = LCD_G5_Pin;
  GPIO_InitStruct.Mode = GPIO_MODE_AF_PP;
  GPIO_InitStruct.Pull = GPIO_NOPULL;
  GPIO_InitStruct.Speed = GPIO_SPEED_FREQ_LOW;
  GPIO_InitStruct.Alternate = GPIO_AF9_LTDC;
  HAL_GPIO_Init(LCD_G5_GPIO_Port, &GPIO_InitStruct);

  /*Configure GPIO pin : DAC1_OUT2_Pin */
  GPIO_InitStruct.Pin = DAC1_OUT2_Pin;
  GPIO_InitStruct.Mode = GPIO_MODE_ANALOG;
  GPIO_InitStruct.Pull = GPIO_NOPULL;
  HAL_GPIO_Init(DAC1_OUT2_GPIO_Port, &GPIO_InitStruct);

  /*Configure GPIO pin : OCSPI1_DQS_Pin */
  GPIO_InitStruct.Pin = OCSPI1_DQS_Pin;
  GPIO_InitStruct.Mode = GPIO_MODE_AF_PP;
  GPIO_InitStruct.Pull = GPIO_NOPULL;
  GPIO_InitStruct.Speed = GPIO_SPEED_FREQ_VERY_HIGH;
  GPIO_InitStruct.Alternate = GPIO_AF10_OCTOSPIM_P1;
  HAL_GPIO_Init(OCSPI1_DQS_GPIO_Port, &GPIO_InitStruct);

  /*Configure GPIO pins : LCD_RST_Pin USB_FS_PWR_EN_Pin */
  GPIO_InitStruct.Pin = LCD_RST_Pin|USB_FS_PWR_EN_Pin;
  GPIO_InitStruct.Mode = GPIO_MODE_OUTPUT_PP;
  GPIO_InitStruct.Pull = GPIO_NOPULL;
  GPIO_InitStruct.Speed = GPIO_SPEED_FREQ_LOW;
  HAL_GPIO_Init(GPIOH, &GPIO_InitStruct);

  /*AnalogSwitch Config */
  HAL_SYSCFG_AnalogSwitchConfig(SYSCFG_SWITCH_PC2, SYSCFG_SWITCH_PC2_CLOSE);

  /*AnalogSwitch Config */
  HAL_SYSCFG_AnalogSwitchConfig(SYSCFG_SWITCH_PC3, SYSCFG_SWITCH_PC3_CLOSE);

  /*AnalogSwitch Config */
  HAL_SYSCFG_AnalogSwitchConfig(SYSCFG_SWITCH_PC2, SYSCFG_SWITCH_PC2_OPEN);

  /*AnalogSwitch Config */
  HAL_SYSCFG_AnalogSwitchConfig(SYSCFG_SWITCH_PC3, SYSCFG_SWITCH_PC3_OPEN);

  /*AnalogSwitch Config */
  HAL_SYSCFG_AnalogSwitchConfig(SYSCFG_SWITCH_PA1, SYSCFG_SWITCH_PA1_OPEN);

  /*AnalogSwitch Config */
  HAL_SYSCFG_AnalogSwitchConfig(SYSCFG_SWITCH_PA0, SYSCFG_SWITCH_PA0_OPEN);

}

void StartDefaultTask(void *argument)
{
  /* init code for LWIP */
  MX_LWIP_Init();
  /* USER CODE BEGIN 5 */
  /* ETH_CODE: Adding lwiperf to measure TCP/IP performance.
     * iperf 2.0.6 (or older?) is required for the tests. Newer iperf2 versions
     * might work without data check, but they send different headers.
     * iperf3 is not compatible at all.
     * Adding lwiperf.c file to the project is necessary.
     * The default include path should already contain
     * 'lwip/apps/lwiperf.h'
     */
  	LOCK_TCPIP_CORE();
    lwiperf_start_tcp_server_default(NULL, NULL);

    ip4_addr_t remote_addr;
    IP4_ADDR(&remote_addr, 192, 168, 1, 1);
    lwiperf_start_tcp_client_default(&remote_addr, NULL, NULL);
    UNLOCK_TCPIP_CORE();
    /* Infinite loop */
    for(;;)
    {
    	//for (int i=0; i<MEMP_MAX; i++) MEMP_STATS_DISPLAY(i);
    	//MEM_STATS_DISPLAY();

      osDelay(100);
    }
  /* USER CODE END 5 */
}

 /* MPU Configuration */

void MPU_Config(void)
{
  MPU_Region_InitTypeDef MPU_InitStruct = {0};

  /* Disables the MPU */
  HAL_MPU_Disable();

  /** Initializes and configures the Region and the memory to be protected
  */
  MPU_InitStruct.Enable = MPU_REGION_ENABLE;
  MPU_InitStruct.Number = MPU_REGION_NUMBER0;
  MPU_InitStruct.BaseAddress = 0x0;
  MPU_InitStruct.Size = MPU_REGION_SIZE_4GB;
  MPU_InitStruct.SubRegionDisable = 0x87;
  MPU_InitStruct.TypeExtField = MPU_TEX_LEVEL0;
  MPU_InitStruct.AccessPermission = MPU_REGION_NO_ACCESS;
  MPU_InitStruct.DisableExec = MPU_INSTRUCTION_ACCESS_DISABLE;
  MPU_InitStruct.IsShareable = MPU_ACCESS_SHAREABLE;
  MPU_InitStruct.IsCacheable = MPU_ACCESS_NOT_CACHEABLE;
  MPU_InitStruct.IsBufferable = MPU_ACCESS_NOT_BUFFERABLE;

  HAL_MPU_ConfigRegion(&MPU_InitStruct);

  /** Initializes and configures the Region and the memory to be protected
  */
  MPU_InitStruct.Number = MPU_REGION_NUMBER1;
  MPU_InitStruct.BaseAddress = 0x30000000;
  MPU_InitStruct.Size = MPU_REGION_SIZE_32KB;
  MPU_InitStruct.SubRegionDisable = 0x0;
  MPU_InitStruct.TypeExtField = MPU_TEX_LEVEL1;
  MPU_InitStruct.AccessPermission = MPU_REGION_FULL_ACCESS;
  MPU_InitStruct.IsShareable = MPU_ACCESS_NOT_SHAREABLE;

  HAL_MPU_ConfigRegion(&MPU_InitStruct);

  /** Initializes and configures the Region and the memory to be protected
  */
  MPU_InitStruct.Number = MPU_REGION_NUMBER2;
  MPU_InitStruct.Size = MPU_REGION_SIZE_512B;
  MPU_InitStruct.TypeExtField = MPU_TEX_LEVEL0;
  MPU_InitStruct.IsShareable = MPU_ACCESS_SHAREABLE;
  MPU_InitStruct.IsBufferable = MPU_ACCESS_BUFFERABLE;

  HAL_MPU_ConfigRegion(&MPU_InitStruct);
  /* Enables the MPU */
  HAL_MPU_Enable(MPU_PRIVILEGED_DEFAULT);

}

void HAL_TIM_PeriodElapsedCallback(TIM_HandleTypeDef *htim)
{
  if (htim->Instance == TIM6)
  {
    HAL_IncTick();
  }
}

void Error_Handler(void)
{
  __disable_irq();
  while (1)
  {
  }
}

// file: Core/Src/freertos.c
/* USER CODE BEGIN Header */
/**
  ******************************************************************************
  * File Name          : freertos.c
  * Description        : Code for freertos applications
  ******************************************************************************
  * @attention
  *
  * Copyright (c) 2022 STMicroelectronics.
  * All rights reserved.
  *
  * This software is licensed under terms that can be found in the LICENSE file
  * in the root directory of this software component.
  * If no LICENSE file comes with this software, it is provided AS-IS.
  *
  ******************************************************************************
  */
/* USER CODE END Header */

#include "FreeRTOS.h"
#include "task.h"
#include "main.h"

/* Hook prototypes */
void vApplicationStackOverflowHook(xTaskHandle xTask, signed char *pcTaskName);

/* USER CODE BEGIN 4 */
void vApplicationStackOverflowHook(xTaskHandle xTask, signed char *pcTaskName)
{
	 /* ETH_CODE: add breakpoint when stack oveflow is detected by FreeRTOS.
	    * Useful for debugging issues.
	    */
	   __BKPT(0);
}
/* USER CODE END 4 */
